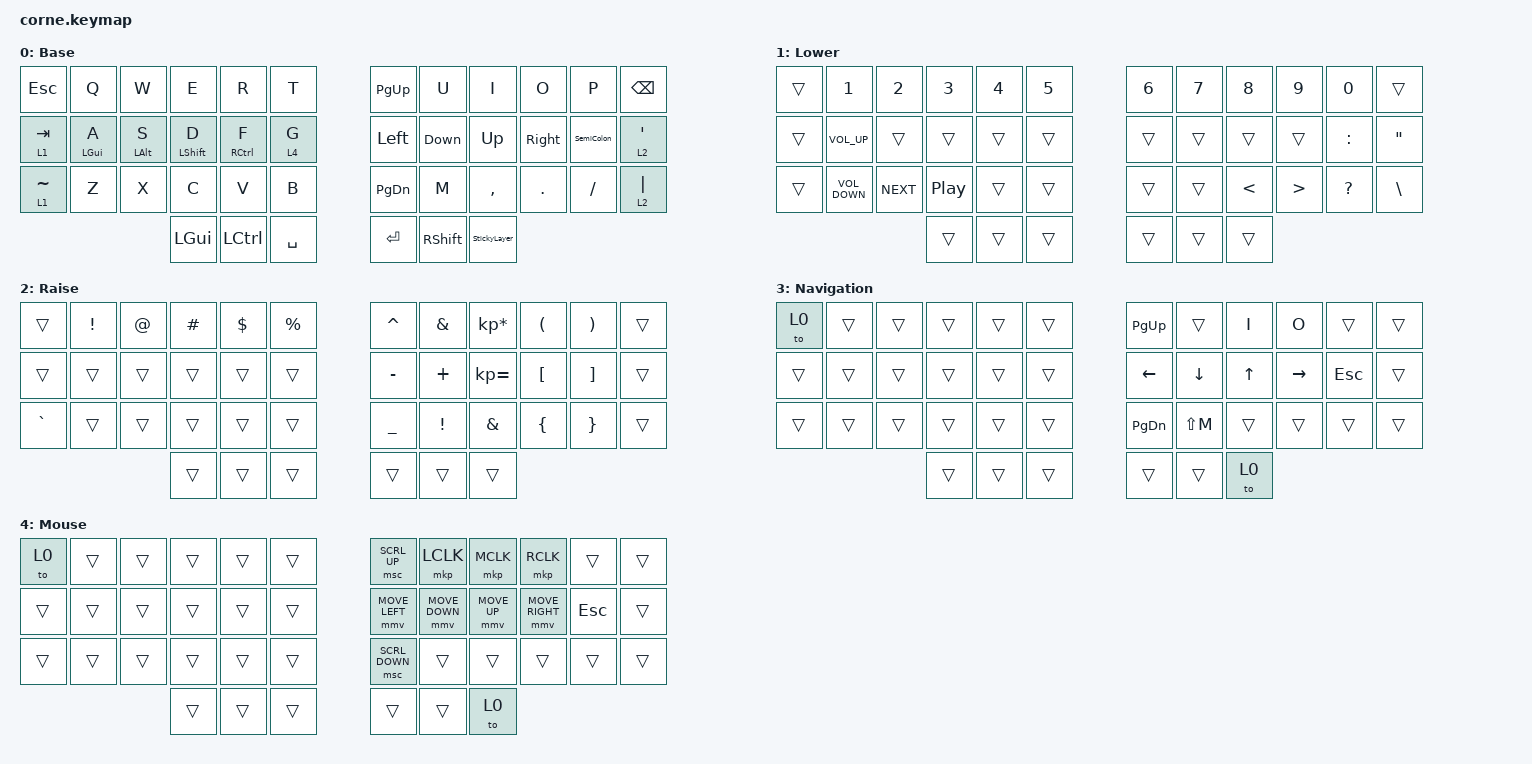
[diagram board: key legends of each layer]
/*
 * Copyright (c) 2020 The ZMK Contributors
 *
 * SPDX-License-Identifier: MIT
 */

#include <behaviors.dtsi>
#include <dt-bindings/zmk/keys.h>
#include <dt-bindings/zmk/pointing.h>

#define ZMK_POINTING_DEFAULT_MOVE_VAL 1200  // default: 600
#define ZMK_POINTING_DEFAULT_SCRL_VAL 20    // default: 10

&mt {
    flavor = "balanced";
    quick-tap-ms = <175>;
    require-prior-idle-ms = <150>;
};

/ {
    combos { compatible = "zmk,combos"; };

    behaviors {
        Down: Down {
            compatible = "zmk,behavior-mod-morph";
            label = "DOWN";
            bindings = <&mt RCTRL J>, <&kp DOWN_ARROW>;

            #binding-cells = <0>;
            mods = <(MOD_LCTL|MOD_RCTL)>;
        };

        Up: Up {
            compatible = "zmk,behavior-mod-morph";
            label = "UP";
            bindings = <&mt RIGHT_SHIFT K>, <&kp UP_ARROW>;

            #binding-cells = <0>;
            mods = <(MOD_LCTL|MOD_RCTL)>;
        };

        Left: Left {
            compatible = "zmk,behavior-mod-morph";
            label = "LEFT";
            bindings = <&kp H>, <&kp LEFT_ARROW>;

            #binding-cells = <0>;
            mods = <(MOD_LCTL|MOD_RCTL)>;
        };

        Right: Right {
            compatible = "zmk,behavior-mod-morph";
            label = "RIGHT";
            bindings = <&mt RIGHT_ALT L>, <&kp RIGHT_ARROW>;

            #binding-cells = <0>;
            mods = <(MOD_LCTL|MOD_RCTL)>;
        };

        PgUp: PgUp {
            compatible = "zmk,behavior-mod-morph";
            label = "PGUP";
            bindings = <&kp Y>, <&kp PAGE_UP>;

            #binding-cells = <0>;
            mods = <(MOD_LCTL|MOD_RCTL)>;
        };

        PgDn: PgDn {
            compatible = "zmk,behavior-mod-morph";
            label = "PGDN";
            bindings = <&kp N>, <&kp PAGE_DOWN>;

            #binding-cells = <0>;
            mods = <(MOD_LCTL|MOD_RCTL)>;
        };

        StickyLayer: StickyLayer {
            compatible = "zmk,behavior-tap-dance";
            label = "STICKYLAYER";
            #binding-cells = <0>;
            bindings = <&tog 3>, <&tog 4>;
        };

        SemiColon: SemiColon {
            compatible = "zmk,behavior-mod-morph";
            label = "SEMICOLON";
            bindings = <&mt RIGHT_META SEMI>, <&kp ESCAPE>;

            #binding-cells = <0>;
            mods = <(MOD_LCTL|MOD_RCTL)>;
        };
    };

    keymap {
        compatible = "zmk,keymap";

        default_layer {
            // -----------------------------------------------------------------------------------------
            // |  TAB |  Q  |  W  |  E  |  R  |  T  |   |  Y  |  U   |  I  |  O  |  P  | BKSP |
            // | CTRL |  A  |  S  |  D  |  F  |  G  |   |  H  |  J   |  K  |  L  |  ;  |  '   |
            // | SHFT |  Z  |  X  |  C  |  V  |  B  |   |  N  |  M   |  ,  |  .  |  /  | ESC  |
            //                    | GUI | LWR | SPC |   | ENT | RSE  | ALT |

            display-name = "Base";
            bindings = <
&kp ESCAPE   &kp Q           &kp W           &kp E             &kp R        &kp T        &PgUp    &kp U            &kp I         &kp O    &kp P       &kp BSPC
&lt 1 TAB    &mt LEFT_GUI A  &mt LEFT_ALT S  &mt LEFT_SHIFT D  &mt RCTRL F  &lt 4 G      &Left    &Down            &Up           &Right   &SemiColon  &lt 2 SINGLE_QUOTE
&lt 1 TILDE  &kp Z           &kp X           &kp C             &kp V        &kp B        &PgDn    &kp M            &kp COMMA     &kp DOT  &kp FSLH    &lt 2 PIPE
                                             &kp LGUI          &kp LCTRL    &kp SPACE    &kp RET  &kp RIGHT_SHIFT  &StickyLayer
            >;
        };

        lower_layer {
            // -----------------------------------------------------------------------------------------
            // |  TAB |  1  |  2  |  3  |  4  |  5  |   |  6  |  7  |  8  |  9  |  0  | BKSP |
            // | BTCLR| BT1 | BT2 | BT3 | BT4 | BT5 |   | LFT | DWN |  UP | RGT |     |      |
            // | SHFT |     |     |     |     |     |   |     |     |     |     |     |      |
            //                    | GUI |     | SPC |   | ENT |     | ALT |

            display-name = "Lower";
            bindings = <
&trans  &kp N1             &kp N2      &kp N3            &kp N4  &kp N5    &kp N6  &kp N7  &kp N8         &kp N9            &kp N0        &trans
&trans  &kp K_VOLUME_UP    &trans      &trans            &trans  &trans    &trans  &trans  &trans         &trans            &kp COLON     &kp DOUBLE_QUOTES
&trans  &kp K_VOLUME_DOWN  &kp C_NEXT  &kp C_PLAY_PAUSE  &trans  &trans    &trans  &trans  &kp LESS_THAN  &kp GREATER_THAN  &kp QUESTION  &kp BACKSLASH
                                       &trans            &trans  &trans    &trans  &trans  &trans
            >;
        };

        raise_layer {
            // -----------------------------------------------------------------------------------------
            // |  TAB |  !  |  @  |  #  |  $  |  %  |   |  ^  |  &  |  *  |  (  |  )  | BKSP |
            // | CTRL |     |     |     |     |     |   |  -  |  =  |  [  |  ]  |  \  |  `   |
            // | SHFT |     |     |     |     |     |   |  _  |  +  |  {  |  }  | "|" |  ~   |
            //                    | GUI |     | SPC |   | ENT |     | ALT |

            display-name = "Raise";
            bindings = <
&trans     &kp EXCL  &kp AT  &kp HASH  &kp DLLR  &kp PRCNT    &kp CARET  &kp AMPS         &kp KP_MULTIPLY  &kp LPAR          &kp RPAR           &trans
&trans     &trans    &trans  &trans    &trans    &trans       &kp MINUS  &kp PLUS         &kp KP_EQUAL     &kp LEFT_BRACKET  &kp RIGHT_BRACKET  &trans
&kp GRAVE  &trans    &trans  &trans    &trans    &trans       &kp UNDER  &kp EXCLAMATION  &kp AMPS         &kp LEFT_BRACE    &kp RIGHT_BRACE    &trans
                             &trans    &trans    &trans       &trans     &trans           &trans
            >;
        };

        nav_layer {
            bindings = <
&to 0   &trans  &trans  &trans  &trans  &trans    &kp PAGE_UP     &trans          &kp I         &kp O            &trans      &trans
&trans  &trans  &trans  &trans  &trans  &trans    &kp LEFT_ARROW  &kp DOWN_ARROW  &kp UP_ARROW  &kp RIGHT_ARROW  &kp ESCAPE  &trans
&trans  &trans  &trans  &trans  &trans  &trans    &kp PAGE_DOWN   &kp LS(M)       &trans        &trans           &trans      &trans
                        &trans  &trans  &trans    &trans          &trans          &to 0
            >;

            label = "Navigation";
        };

        mouse_layer {
            bindings = <
&to 0   &trans  &trans  &trans  &trans  &trans    &msc SCRL_UP    &mkp LCLK       &mkp MCLK     &mkp RCLK        &trans      &trans
&trans  &trans  &trans  &trans  &trans  &trans    &mmv MOVE_LEFT  &mmv MOVE_DOWN  &mmv MOVE_UP  &mmv MOVE_RIGHT  &kp ESCAPE  &trans
&trans  &trans  &trans  &trans  &trans  &trans    &msc SCRL_DOWN  &trans          &trans        &trans           &trans      &trans
                        &trans  &trans  &trans    &trans          &trans          &to 0
            >;

            label = "Mouse";
        };
    };
};
